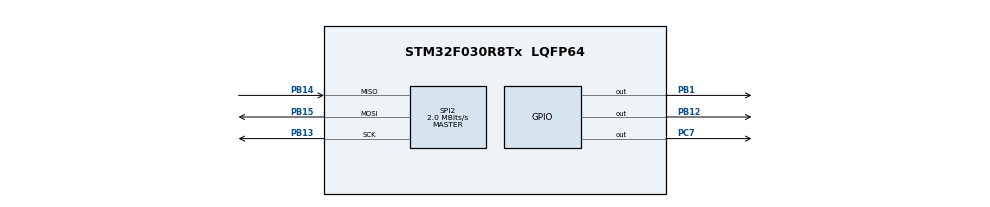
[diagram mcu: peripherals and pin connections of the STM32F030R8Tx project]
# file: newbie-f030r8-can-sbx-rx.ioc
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Mcu.Family=STM32F0
PB15.Mode=Full_Duplex_Master
PB14.Mode=Full_Duplex_Master
SPI2.VirtualType=VM_MASTER
SPI2.CalculateBaudRate=2.0 MBits/s
Mcu.Name=STM32F030R8Tx
PB15.Signal=SPI2_MOSI
PB13.Signal=SPI2_SCK
Mcu.Package=LQFP64
PB1.Signal=GPIO_Output
ProjectManager.StackSize=0x400
SPI2.Mode=SPI_MODE_MASTER
ProjectManager.HeapSize=0x200
ProjectManager.TargetToolchain=STM32CubeIDE
PC7.Signal=GPIO_Output
SPI2.Direction=SPI_DIRECTION_2LINES
PB13.Mode=Full_Duplex_Master
SPI2.BaudRatePrescaler=SPI_BAUDRATEPRESCALER_4
PB14.Signal=SPI2_MISO
PB12.Signal=GPIO_Output
board=custom

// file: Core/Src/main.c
/* USER CODE BEGIN Header */
/**
  ******************************************************************************
  * @file           : main.c
  * @brief          : Main program body
  ******************************************************************************
  * @attention
  *
  * <h2><center>&copy; Copyright (c) 2021 STMicroelectronics.
  * All rights reserved.</center></h2>
  *
  * This software component is licensed by ST under BSD 3-Clause license,
  * the "License"; You may not use this file except in compliance with the
  * License. You may obtain a copy of the License at:
  *                        opensource.org/licenses/BSD-3-Clause
  *
  ******************************************************************************
  */
/* USER CODE END Header */
#include "main.h"

/* USER CODE BEGIN Includes */
#include "cc_definitions.h"
#include "cc_commands.h"
#include "cc1120_config.h"
#include "cc112x_spi.h"
#include "cc_tx_init.h"
#include "cw.h"
#include "utils.h"
#include "stdio.h"
#include "string.h"
/* USER CODE END Includes */

SPI_HandleTypeDef hspi2;

/* USER CODE BEGIN PV */
uint8_t res;
uint16_t size = 0;

volatile uint8_t tx_thr_flag = 0;
volatile uint8_t tx_fin_flag = 0;
volatile uint8_t rx_sync_flag = 0;
volatile uint8_t rx_finished_flag = 0;
volatile uint8_t rx_thr_flag = 0;

uint8_t uart_temp[512];
uint8_t spi_data[512];
uint8_t spi_temp[512];
uint8_t debug_temp[256];
/* USER CODE END PV */

void SystemClock_Config(void);
static void MX_GPIO_Init(void);
static void MX_SPI2_Init(void);

int main(void)
{

  /* MCU Configuration--------------------------------------------------------*/

  /* Reset of all peripherals, Initializes the Flash interface and the Systick. */
  HAL_Init();

  /* Configure the system clock */
  SystemClock_Config();

  /* Initialize all configured peripherals */
  MX_GPIO_Init();
  MX_SPI2_Init();
  /* USER CODE BEGIN 2 */

  //bring the chip select high
  HAL_GPIO_WritePin (GPIOB, GPIO_PIN_12, GPIO_PIN_SET);
  //tell OBC that comms is working
  HAL_GPIO_WritePin (GPIOB, GPIO_PIN_1, GPIO_PIN_SET);
  //setup the registers to begin sending
  set_tx_fsk_regs();

  /* USER CODE END 2 */

  /* Infinite loop */
  /* USER CODE BEGIN WHILE */
  while (1)
  {

	  //generate some junk data
	  spi_data[0] = 1;
	  spi_data[1] = 2;
	  spi_data[2] = 3;
	  spi_data[3] = 4;

	  //put that data into the FIFO
	  cc_tx_spi_write_fifo(spi_temp, spi_temp, 4);
	  HAL_Delay(1);

	  //send the data
	  cc_tx_cmd (STX);

	  //after sending, flush out the buffer and enter back into idle mode
	  cc_tx_cmd (SIDLE);
	  cc_tx_cmd (SFTX);

	  HAL_GPIO_TogglePin(GPIOC, GPIO_PIN_7);
	  HAL_Delay(2000);

    /* USER CODE END WHILE */

  }
}

void SystemClock_Config(void)
{
  RCC_OscInitTypeDef RCC_OscInitStruct = {0};
  RCC_ClkInitTypeDef RCC_ClkInitStruct = {0};

  /** Initializes the RCC Oscillators according to the specified parameters
  * in the RCC_OscInitTypeDef structure.
  */
  RCC_OscInitStruct.OscillatorType = RCC_OSCILLATORTYPE_HSI;
  RCC_OscInitStruct.HSIState = RCC_HSI_ON;
  RCC_OscInitStruct.HSICalibrationValue = RCC_HSICALIBRATION_DEFAULT;
  RCC_OscInitStruct.PLL.PLLState = RCC_PLL_NONE;
  if (HAL_RCC_OscConfig(&RCC_OscInitStruct) != HAL_OK)
  {
    Error_Handler();
  }
  /** Initializes the CPU, AHB and APB buses clocks
  */
  RCC_ClkInitStruct.ClockType = RCC_CLOCKTYPE_HCLK|RCC_CLOCKTYPE_SYSCLK
                              |RCC_CLOCKTYPE_PCLK1;
  RCC_ClkInitStruct.SYSCLKSource = RCC_SYSCLKSOURCE_HSI;
  RCC_ClkInitStruct.AHBCLKDivider = RCC_SYSCLK_DIV1;
  RCC_ClkInitStruct.APB1CLKDivider = RCC_HCLK_DIV1;

  if (HAL_RCC_ClockConfig(&RCC_ClkInitStruct, FLASH_LATENCY_0) != HAL_OK)
  {
    Error_Handler();
  }
}

static void MX_SPI2_Init(void)
{

  /* SPI2 parameter configuration*/
  hspi2.Instance = SPI2;
  hspi2.Init.Mode = SPI_MODE_MASTER;
  hspi2.Init.Direction = SPI_DIRECTION_2LINES;
  hspi2.Init.DataSize = SPI_DATASIZE_4BIT;
  hspi2.Init.CLKPolarity = SPI_POLARITY_LOW;
  hspi2.Init.CLKPhase = SPI_PHASE_1EDGE;
  hspi2.Init.NSS = SPI_NSS_SOFT;
  hspi2.Init.BaudRatePrescaler = SPI_BAUDRATEPRESCALER_4;
  hspi2.Init.FirstBit = SPI_FIRSTBIT_MSB;
  hspi2.Init.TIMode = SPI_TIMODE_DISABLE;
  hspi2.Init.CRCCalculation = SPI_CRCCALCULATION_DISABLE;
  hspi2.Init.CRCPolynomial = 7;
  hspi2.Init.CRCLength = SPI_CRC_LENGTH_DATASIZE;
  hspi2.Init.NSSPMode = SPI_NSS_PULSE_ENABLE;
  if (HAL_SPI_Init(&hspi2) != HAL_OK)
  {
    Error_Handler();
  }

}

static void MX_GPIO_Init(void)
{
  GPIO_InitTypeDef GPIO_InitStruct = {0};

  /* GPIO Ports Clock Enable */
  __HAL_RCC_GPIOB_CLK_ENABLE();
  __HAL_RCC_GPIOC_CLK_ENABLE();

  /*Configure GPIO pin Output Level */
  HAL_GPIO_WritePin(GPIOB, GPIO_PIN_1|GPIO_PIN_12, GPIO_PIN_RESET);

  /*Configure GPIO pin Output Level */
  HAL_GPIO_WritePin(GPIOC, GPIO_PIN_7, GPIO_PIN_RESET);

  /*Configure GPIO pins : PB1 PB12 */
  GPIO_InitStruct.Pin = GPIO_PIN_1|GPIO_PIN_12;
  GPIO_InitStruct.Mode = GPIO_MODE_OUTPUT_PP;
  GPIO_InitStruct.Pull = GPIO_NOPULL;
  GPIO_InitStruct.Speed = GPIO_SPEED_FREQ_LOW;
  HAL_GPIO_Init(GPIOB, &GPIO_InitStruct);

  /*Configure GPIO pin : PC7 */
  GPIO_InitStruct.Pin = GPIO_PIN_7;
  GPIO_InitStruct.Mode = GPIO_MODE_OUTPUT_PP;
  GPIO_InitStruct.Pull = GPIO_NOPULL;
  GPIO_InitStruct.Speed = GPIO_SPEED_FREQ_LOW;
  HAL_GPIO_Init(GPIOC, &GPIO_InitStruct);

}

void Error_Handler(void)
{
  __disable_irq();
  while (1)
  {
  }
}

/************************ (C) COPYRIGHT STMicroelectronics *****END OF FILE****/
